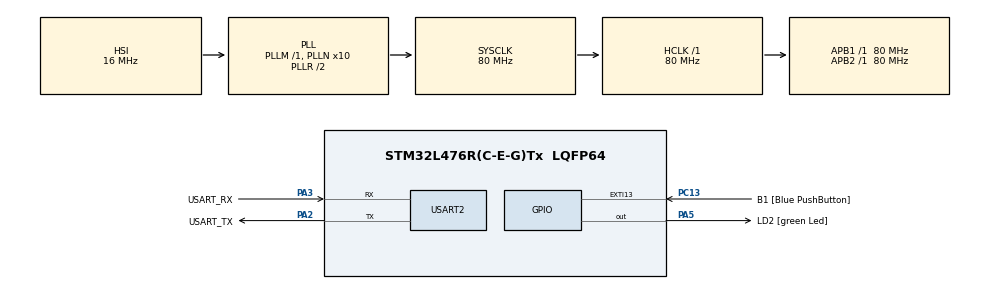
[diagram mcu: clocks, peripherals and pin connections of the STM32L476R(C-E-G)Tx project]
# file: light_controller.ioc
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Mcu.Family=STM32L4
Mcu.Name=STM32L476R(C-E-G)Tx
Mcu.Package=LQFP64
NVIC.PriorityGroup=NVIC_PRIORITYGROUP_4
PA13\ (JTMS-SWDIO).GPIO_Label=TMS
PA13\ (JTMS-SWDIO).Mode=Serial_Wire
PA13\ (JTMS-SWDIO).Signal=SYS_JTMS-SWDIO
PA14\ (JTCK-SWCLK).GPIO_Label=TCK
PA14\ (JTCK-SWCLK).Mode=Serial_Wire
PA14\ (JTCK-SWCLK).Signal=SYS_JTCK-SWCLK
PA2.GPIO_Label=USART_TX
PA2.GPIO_Mode=GPIO_MODE_AF_PP
PA2.GPIO_PuPd=GPIO_NOPULL
PA2.GPIO_Speed=GPIO_SPEED_FREQ_VERY_HIGH
PA2.Mode=Asynchronous
PA2.Signal=USART2_TX
PA3.GPIO_Label=USART_RX
PA3.GPIO_Mode=GPIO_MODE_AF_PP
PA3.GPIO_PuPd=GPIO_NOPULL
PA3.GPIO_Speed=GPIO_SPEED_FREQ_VERY_HIGH
PA3.Mode=Asynchronous
PA3.Signal=USART2_RX
PA5.GPIO_Label=LD2 [green Led]
PA5.GPIO_ModeDefaultOutputPP=GPIO_MODE_OUTPUT_PP
PA5.GPIO_PuPd=GPIO_NOPULL
PA5.GPIO_Speed=GPIO_SPEED_FREQ_LOW
PA5.Signal=GPIO_Output
PB3\ (JTDO-TRACESWO).GPIO_Label=SWO
PB3\ (JTDO-TRACESWO).Signal=SYS_JTDO-SWO
PC13.GPIO_Label=B1 [Blue PushButton]
PC13.GPIO_ModeDefaultEXTI=GPIO_MODE_IT_FALLING
PC13.GPIO_PuPd=GPIO_NOPULL
PC13.Signal=GPXTI13
PC14-OSC32_IN\ (PC14).Mode=LSE-External-Oscillator
PC14-OSC32_IN\ (PC14).Signal=RCC_OSC32_IN
PC15-OSC32_OUT\ (PC15).Mode=LSE-External-Oscillator
PC15-OSC32_OUT\ (PC15).Signal=RCC_OSC32_OUT
PH0-OSC_IN\ (PH0).Signal=RCC_OSC_IN
PH1-OSC_OUT\ (PH1).Signal=RCC_OSC_OUT
ProjectManager.HeapSize=0x200
ProjectManager.StackSize=0x400
ProjectManager.TargetToolchain=STM32CubeIDE
RCC.ADCFreq_Value=64000000
RCC.AHBFreq_Value=80000000
RCC.APB1Freq_Value=80000000
RCC.APB1TimFreq_Value=80000000
RCC.APB2Freq_Value=80000000
RCC.APB2TimFreq_Value=80000000
RCC.CortexFreq_Value=80000000
RCC.HCLKFreq_Value=80000000
RCC.HSE_VALUE=8000000
RCC.HSI_VALUE=16000000
RCC.MSI_VALUE=4000000
RCC.PLLN=10
RCC.PLLSourceVirtual=RCC_PLLSOURCE_HSI
RCC.PREFETCH_ENABLE=1
RCC.SYSCLKFreq_VALUE=80000000
RCC.SYSCLKSource=RCC_SYSCLKSOURCE_PLLCLK
RCC.USBFreq_Value=64000000
RCC.VCOOutputFreq_Value=160000000
USART2.VirtualMode-Asynchronous=VM_ASYNC
board=NUCLEO-L476RG

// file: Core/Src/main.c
/* USER CODE BEGIN Header */
/**
  ******************************************************************************
  * @file           : main.c
  * @brief          : Main program body
  ******************************************************************************
  * @attention
  *
  * <h2><center>&copy; Copyright (c) 2020 STMicroelectronics.
  * All rights reserved.</center></h2>
  *
  * This software component is licensed by ST under BSD 3-Clause license,
  * the "License"; You may not use this file except in compliance with the
  * License. You may obtain a copy of the License at:
  *                        opensource.org/licenses/BSD-3-Clause
  *
  ******************************************************************************
  */
/* USER CODE END Header */

#include "main.h"

UART_HandleTypeDef huart2;

void SystemClock_Config(void);
static void MX_GPIO_Init(void);
static void MX_USART2_UART_Init(void);

int main(void)
{

  /* MCU Configuration--------------------------------------------------------*/

  /* Reset of all peripherals, Initializes the Flash interface and the Systick. */
  HAL_Init();

  /* Configure the system clock */
  SystemClock_Config();

  /* Initialize all configured peripherals */
  MX_GPIO_Init();
  MX_USART2_UART_Init();
  /* USER CODE BEGIN 2 */

  Light_State = OFF;

//  cuenta = 0;
  Button_Press = 0;
  Tsw = 4000;
  Tidle = 20000;

  /* USER CODE END 2 */

  /* Infinite loop */
  while (1)
  {

	if (Button_Press) {
//		HAL_GPIO_TogglePin(LD2_GPIO_Port, LD2_Pin);

		switch (Light_State) {
			case OFF:
				if (x < Tidle) {
					Light_State = DIMMED;
				}
				else {
					Light_State = BRIGHT;
				}
				break;
			case DIMMED:
				if (x < Tsw) {
					Light_State = BRIGHT;
				}
				else {
					Light_State = OFF;
				}
				break;
			case BRIGHT:
				if (x < Tsw) {
					Light_State = OFF;
				}
				else {
					Light_State = DIMMED;
				}
				break;
		}

		// Pruebas de salto de tiempo con la línea 305.
		x = 0;
//		cuenta++;
		Button_Press = 0;
	}

	set_output(Light_State);

  }
}

void SystemClock_Config(void)
{
  RCC_OscInitTypeDef RCC_OscInitStruct = {0};
  RCC_ClkInitTypeDef RCC_ClkInitStruct = {0};
  RCC_PeriphCLKInitTypeDef PeriphClkInit = {0};

  /** Initializes the CPU, AHB and APB busses clocks
  */
  RCC_OscInitStruct.OscillatorType = RCC_OSCILLATORTYPE_HSI;
  RCC_OscInitStruct.HSIState = RCC_HSI_ON;
  RCC_OscInitStruct.HSICalibrationValue = RCC_HSICALIBRATION_DEFAULT;
  RCC_OscInitStruct.PLL.PLLState = RCC_PLL_ON;
  RCC_OscInitStruct.PLL.PLLSource = RCC_PLLSOURCE_HSI;
  RCC_OscInitStruct.PLL.PLLM = 1;
  RCC_OscInitStruct.PLL.PLLN = 10;
  RCC_OscInitStruct.PLL.PLLP = RCC_PLLP_DIV7;
  RCC_OscInitStruct.PLL.PLLQ = RCC_PLLQ_DIV2;
  RCC_OscInitStruct.PLL.PLLR = RCC_PLLR_DIV2;
  if (HAL_RCC_OscConfig(&RCC_OscInitStruct) != HAL_OK)
  {
    Error_Handler();
  }
  /** Initializes the CPU, AHB and APB busses clocks
  */
  RCC_ClkInitStruct.ClockType = RCC_CLOCKTYPE_HCLK|RCC_CLOCKTYPE_SYSCLK
                              |RCC_CLOCKTYPE_PCLK1|RCC_CLOCKTYPE_PCLK2;
  RCC_ClkInitStruct.SYSCLKSource = RCC_SYSCLKSOURCE_PLLCLK;
  RCC_ClkInitStruct.AHBCLKDivider = RCC_SYSCLK_DIV1;
  RCC_ClkInitStruct.APB1CLKDivider = RCC_HCLK_DIV1;
  RCC_ClkInitStruct.APB2CLKDivider = RCC_HCLK_DIV1;

  if (HAL_RCC_ClockConfig(&RCC_ClkInitStruct, FLASH_LATENCY_4) != HAL_OK)
  {
    Error_Handler();
  }
  PeriphClkInit.PeriphClockSelection = RCC_PERIPHCLK_USART2;
  PeriphClkInit.Usart2ClockSelection = RCC_USART2CLKSOURCE_PCLK1;
  if (HAL_RCCEx_PeriphCLKConfig(&PeriphClkInit) != HAL_OK)
  {
    Error_Handler();
  }
  /** Configure the main internal regulator output voltage
  */
  if (HAL_PWREx_ControlVoltageScaling(PWR_REGULATOR_VOLTAGE_SCALE1) != HAL_OK)
  {
    Error_Handler();
  }
}

static void MX_USART2_UART_Init(void)
{

  huart2.Instance = USART2;
  huart2.Init.BaudRate = 115200;
  huart2.Init.WordLength = UART_WORDLENGTH_8B;
  huart2.Init.StopBits = UART_STOPBITS_1;
  huart2.Init.Parity = UART_PARITY_NONE;
  huart2.Init.Mode = UART_MODE_TX_RX;
  huart2.Init.HwFlowCtl = UART_HWCONTROL_NONE;
  huart2.Init.OverSampling = UART_OVERSAMPLING_16;
  huart2.Init.OneBitSampling = UART_ONE_BIT_SAMPLE_DISABLE;
  huart2.AdvancedInit.AdvFeatureInit = UART_ADVFEATURE_NO_INIT;
  if (HAL_UART_Init(&huart2) != HAL_OK)
  {
    Error_Handler();
  }

}

static void MX_GPIO_Init(void)
{
  GPIO_InitTypeDef GPIO_InitStruct = {0};

  /* GPIO Ports Clock Enable */
  __HAL_RCC_GPIOC_CLK_ENABLE();
  __HAL_RCC_GPIOH_CLK_ENABLE();
  __HAL_RCC_GPIOA_CLK_ENABLE();
  __HAL_RCC_GPIOB_CLK_ENABLE();

  /*Configure GPIO pin Output Level */
  HAL_GPIO_WritePin(LD2_GPIO_Port, LD2_Pin, GPIO_PIN_RESET);

  /*Configure GPIO pin : B1_Pin */
  GPIO_InitStruct.Pin = B1_Pin;
  GPIO_InitStruct.Mode = GPIO_MODE_IT_FALLING;
  GPIO_InitStruct.Pull = GPIO_NOPULL;
  HAL_GPIO_Init(B1_GPIO_Port, &GPIO_InitStruct);

  /*Configure GPIO pin : LD2_Pin */
  GPIO_InitStruct.Pin = LD2_Pin;
  GPIO_InitStruct.Mode = GPIO_MODE_OUTPUT_PP;
  GPIO_InitStruct.Pull = GPIO_NOPULL;
  GPIO_InitStruct.Speed = GPIO_SPEED_FREQ_LOW;
  HAL_GPIO_Init(LD2_GPIO_Port, &GPIO_InitStruct);

}

/* USER CODE BEGIN 4 */

void Find_Button_Press(void) {
	static states Button_State = Waiting;
	static unsigned char Button_Count = 0;
	static uint8_t Temp_Press;

	switch (Button_State) {
		case Waiting:
			if (BUTTON) {
				Button_State = Detected;
				Button_Count = 0;
				Temp_Press = BUTTON;
			}
			break;
		case Detected:
			if (Temp_Press == BUTTON) {
				Button_Count++;
				if (Button_Count > MIN_BUTTON_COUNT) {
					Button_State = WaitForRelease;
				}
			}
			else {
				Button_State = Waiting;
			}
			break;
		case WaitForRelease:
			if (!BUTTON) {
				Button_State = Update;
			}
			break;
		case Update:
			Button_Press = Temp_Press;
			Button_State = Waiting;
			Button_Count = 0;
			Temp_Press = 0;
			break;
		default:
			Button_State = Waiting;
			Button_Count = 0;
			Temp_Press = 0;
			Button_Press = 0;
	}
}

void set_output(uint8_t light_state) {
	switch (light_state) {
		case OFF:
			HAL_GPIO_WritePin(LD2_GPIO_Port, LD2_Pin, RESET);
			break;
		case DIMMED:
			HAL_GPIO_TogglePin(LD2_GPIO_Port, LD2_Pin);
			HAL_Delay(100);
			break;
		case BRIGHT:
			HAL_GPIO_WritePin(LD2_GPIO_Port, LD2_Pin, SET);
			break;
	}
}

/* USER CODE END 4 */

void Error_Handler(void)
{
}

/************************ (C) COPYRIGHT STMicroelectronics *****END OF FILE****/
